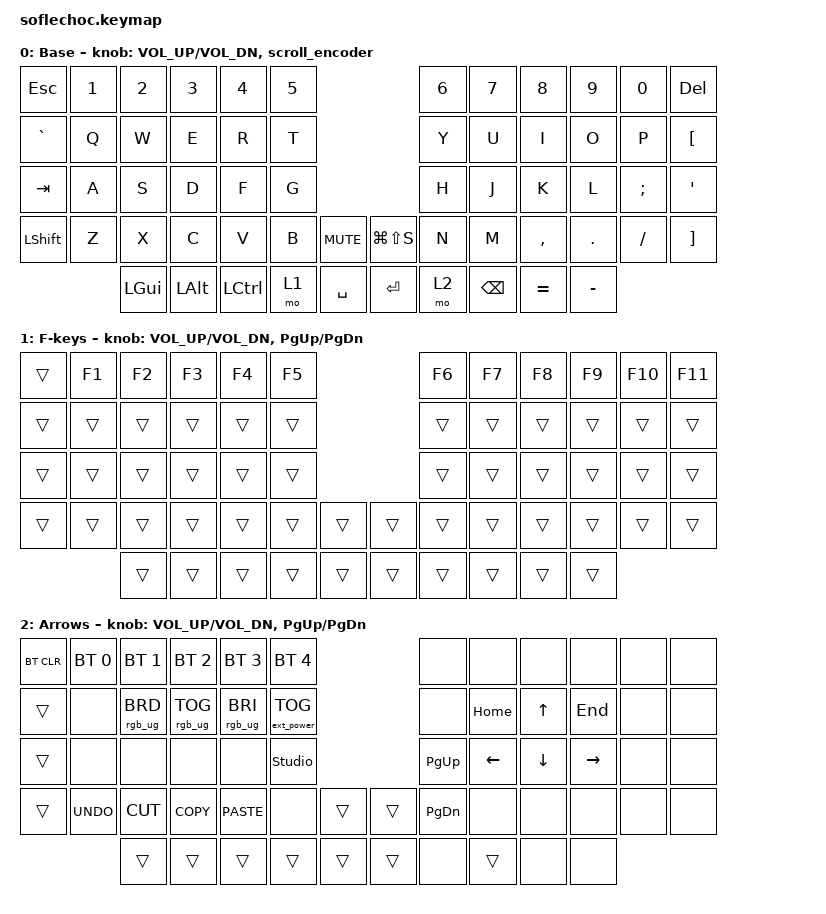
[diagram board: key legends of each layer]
/*
 * Sofle Choc (PandaKB, nice!nano nRF52840) keymap
 * - 2 rotary encoders, RGB underglow, SSD1306 OLEDs on both halves
 * - editable live via ZMK Studio
 * - ported from the firmware-build branch (config/sofle.keymap); the unused
 *   <dt-bindings/zmk/power_save.h> include was dropped: it does not exist in
 *   current ZMK main and no binding uses it
 */

#include <behaviors.dtsi>
#include <dt-bindings/zmk/bt.h>
#include <dt-bindings/zmk/ext_power.h>
#include <dt-bindings/zmk/keys.h>
#include <dt-bindings/zmk/pointing.h>
#include <dt-bindings/zmk/rgb.h>

/ {
    behaviors {
        /*
         * Right encoder = real mouse wheel (&msc sends HID Generic Desktop
         * wheel events, unlike the C_AC_SCROLL_* consumer keys).
         * tap-ms must exceed &msc's 16ms tick (default 5ms produces no
         * wheel events at all): each detent holds the scroll "key" ~100ms
         * (~1 wheel notch); fast turns stack presses -> faster scrolling.
         * Sensor bindings always execute on the central (the dongle).
         */
        scroll_encoder: scroll_encoder {
            compatible = "zmk,behavior-sensor-rotate";
            #sensor-binding-cells = <0>;
            bindings = <&msc SCRL_UP>, <&msc SCRL_DOWN>;
            tap-ms = <100>;
        };
    };

    keymap {
        compatible = "zmk,keymap";

        base {
            display-name = "Base";

            // ------------------------------------------------------------------------------------------------------------
            // |  `    |  1  |  2  |  3   |  4   |  5   |                         |  6   |  7    |  8    |  9   |   0   |       |
            // |  ESC  |  Q  |  W  |  E   |  R   |  T   |                         |  Y   |  U    |  I    |  O   |   P   | BKSPC |
            // |  TAB  |  A  |  S  |  D   |  F   |  G   |                         |  H   |  J    |  K    |  L   |   ;   |   '   |
            // | SHIFT |  Z  |  X  |  C   |  V   |  B   |  MUTE  |        | ExtPw |  N   |  M    |  ,    |  .   |   /   | SHIFT |
            //               | GUI | ALT  | CTRL | LOWER|  ENTER |        | SPACE | RAISE| CTRL  | ALT   | GUI  |

            bindings = <
&kp ESCAPE  &kp N1  &kp N2    &kp N3    &kp N4     &kp N5                               &kp N6  &kp N7         &kp N8     &kp N9     &kp N0    &kp DELETE
&kp GRAVE   &kp Q   &kp W     &kp E     &kp R      &kp T                                &kp Y   &kp U          &kp I      &kp O      &kp P     &kp LEFT_BRACKET
&kp TAB     &kp A   &kp S     &kp D     &kp F      &kp G                                &kp H   &kp J          &kp K      &kp L      &kp SEMI  &kp SQT
&kp LSHFT   &kp Z   &kp X     &kp C     &kp V      &kp B   &kp C_MUTE    &kp LG(LS(S))  &kp N   &kp M          &kp COMMA  &kp DOT    &kp FSLH  &kp RIGHT_BRACKET
                    &kp LGUI  &kp LALT  &kp LCTRL  &mo 1   &kp SPACE     &kp RET        &mo 2   &kp BACKSPACE  &kp EQUAL  &kp MINUS
            >;

            sensor-bindings =
                <&inc_dec_kp C_VOL_UP C_VOL_DN>,
                <&scroll_encoder>;
        };

        lower_layer {
            display-name = "F-keys";

            // ------------------------------------------------------------------------------------------------------------
            // |       |  F1 |  F2 |  F3  |  F4  |  F5  |                   |  F6  |  F7   |  F8   |  F9  |  F10  |  F11  |
            // | `     |   1 |   2 |   3  |   4  |   5  |                   |   6  |   7   |   8   |   9  |    0  |  F12  |
            // |       |  !  |  @  |  #   |  $   |  %   |                   |  ^   |  &    |  *    |  (   |   )   |   |   |
            // |       |  =  |  -  |  +   |  {   |  }   |        |  |       |  [   |  ]    |  ;    |  :   |   \   |       |

            bindings = <
&trans  &kp F1  &kp F2  &kp F3  &kp F4  &kp F5                    &kp F6  &kp F7  &kp F8  &kp F9  &kp F10  &kp F11
&trans  &trans  &trans  &trans  &trans  &trans                    &trans  &trans  &trans  &trans  &trans   &trans
&trans  &trans  &trans  &trans  &trans  &trans                    &trans  &trans  &trans  &trans  &trans   &trans
&trans  &trans  &trans  &trans  &trans  &trans  &trans    &trans  &trans  &trans  &trans  &trans  &trans   &trans
                &trans  &trans  &trans  &trans  &trans    &trans  &trans  &trans  &trans  &trans
            >;

            sensor-bindings = <&inc_dec_kp C_VOL_UP C_VOL_DN &inc_dec_kp PG_UP PG_DN>;
        };

        raise_layer {
            display-name = "Arrows";

            // ------------------------------------------------------------------------------------------------------------
            // |BTCLR| BT1  | BT2  |  BT3  |  BT4  |  BT5 |                |RGB EF|RGB TG |RGB MD |RGB+  |RGB-   |PSLEEP |
            // |     | INS  | PSCR | GUI   |       |      |                |      |       |   ^   |      |       |       |
            // |     | ALT  | CTRL | SHIFT |       | CAPS |                |      |   <-  |   v   |  ->  |  DEL  | BKSPC |
            // |     | UNDO | CUT  | COPY  | PASTE |      |      |  |      |      |       |       |      |       |       |

            bindings = <
&bt BT_CLR  &bt BT_SEL 0  &bt BT_SEL 1     &bt BT_SEL 2     &bt BT_SEL 3     &bt BT_SEL 4                         &none          &none     &none     &none      &none  &none
&trans      &none         &rgb_ug RGB_BRD  &rgb_ug RGB_TOG  &rgb_ug RGB_BRI  &ext_power EP_TOG                    &none          &kp HOME  &kp UP    &kp END    &none  &none
&trans      &none         &none            &none            &none            &studio_unlock                       &kp PG_UP      &kp LEFT  &kp DOWN  &kp RIGHT  &none  &none
&trans      &kp K_UNDO    &kp K_CUT        &kp K_COPY       &kp K_PASTE      &none              &trans    &trans  &kp PAGE_DOWN  &none     &none     &none      &none  &none
                          &trans           &trans           &trans           &trans             &trans    &trans  &none          &trans    &none     &none
            >;

            sensor-bindings = <&inc_dec_kp C_VOL_UP C_VOL_DN &inc_dec_kp PG_UP PG_DN>;
        };
    };
};
